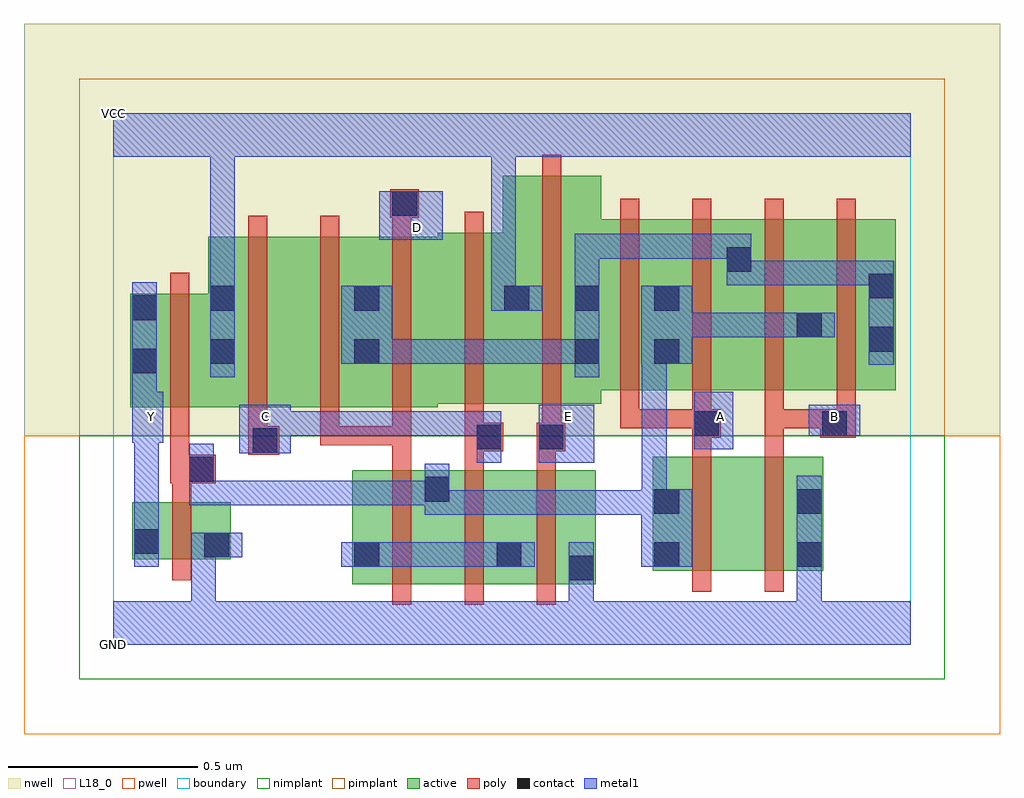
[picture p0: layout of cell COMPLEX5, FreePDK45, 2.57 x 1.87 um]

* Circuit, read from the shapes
.subckt COMPLEX5 A B C D E GND VCC Y
M1 GND n1 Y VSUBS nfet w=0.15u l=0.05u
M2 n1 D n2 VSUBS nfet w=0.3u l=0.05u
M3 n2 C n1 VSUBS nfet w=0.3u l=0.05u
M4 GND E n2 VSUBS nfet w=0.3u l=0.05u
M5 n3 A n1 VSUBS nfet w=0.3u l=0.05u
M6 GND B n3 VSUBS nfet w=0.3u l=0.05u
M7 VCC n1 Y n4 pfet w=0.3u l=0.05u
M8 n5 C VCC n4 pfet w=0.45u l=0.05u
M9 n6 D n5 n4 pfet w=0.45u l=0.05u
M10 n7 D n6 n4 pfet w=0.45u l=0.05u
M11 VCC C n7 n4 pfet w=0.45u l=0.05u
M12 n6 E VCC n4 pfet w=0.6u l=0.05u
M13 n1 A n6 n4 pfet w=0.45u l=0.05u m=2
M14 n1 B n6 n4 pfet w=0.45u l=0.05u m=2
.ends

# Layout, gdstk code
import gdstk
lib = gdstk.Library(unit=1e-6, precision=1e-09)
def R(c, l, rs):  # rectangles x0, y0, x1, y1
    for r in rs: c.add(gdstk.rectangle(r[:2], r[2:], *l))
def A(c, l, x, y, w, h, nx, ny, dx, dy):  # array of equal rectangles
    R(c, l, [(x+i*dx, y+j*dy, x+i*dx+w, y+j*dy+h) for i in range(nx) for j in range(ny)])
active = (1, 0)
pwell = (2, 0)
nwell = (3, 0)
nimplant = (4, 0)
pimplant = (5, 0)
poly = (9, 0)
contact = (10, 0)
metal1 = (11, 0)
L18_0 = (18, 0)
boundary = (235, 0)

complex5 = lib.new_cell('COMPLEX5')
R(complex5, active, [(0.63,0.16,0.89,0.46), (0.815,0.16,1.08,0.46), (1.005,0.16,1.27,0.46), (1.195,0.16,1.27,0.46), (0.63,0.195,0.705,0.46), (0.815,0.195,0.89,0.447), (1.005,0.195,1.08,0.392), (1.42,0.195,1.645,0.495), (1.42,0.195,1.525,0.495), (1.645,0.195,1.87,0.495), (1.795,0.195,1.87,0.495), (0.05,0.225,0.31,0.375), (0.235,0.225,0.31,0.375), (0.05,0.235,0.125,0.375), (0.045,0.625,0.12,0.925), (0.045,0.625,0.325,0.925), (0.25,0.625,0.475,1.075), (0.475,0.625,0.705,1.075), (0.63,0.625,0.705,1.075), (0.63,0.625,0.855,1.075), (0.855,0.635,1.1,1.085), (1.025,0.635,1.285,1.235), (1.21,0.67,1.495,1.12), (1.42,0.67,1.685,1.12), (1.42,0.67,1.495,1.055), (1.61,0.67,1.87,1.12), (1.795,0.67,2.06,1.12), (1.795,0.67,1.87,1.055), (1.985,0.67,2.06,1.12), (1.21,0.702,1.285,1.2), (1.61,0.702,1.685,1.055), (1.025,0.722,1.1,1.055), (0.25,0.735,0.325,1.075)])
R(complex5, pwell, [(-0.235,-0.235,2.335,0.55)])
R(complex5, nwell, [(-0.235,0.55,2.335,1.635)])
R(complex5, nimplant, [(-0.09,-0.09,2.19,0.55)])
R(complex5, pimplant, [(-0.09,0.55,2.19,1.49)])
A(complex5, poly, 0.735, 0.105, 0.05, 0.41, 3, 1, 0.19, 0)
A(complex5, poly, 0.355, 0.525, 0.05, 0.095, 3, 1, 0.19, 0)
A(complex5, poly, 0.355, 0.57, 0.05, 0.56, 3, 1, 0.19, 0)
A(complex5, poly, 1.335, 0.57, 0.05, 0.095, 4, 1, 0.19, 0)
A(complex5, poly, 1.335, 0.615, 0.05, 0.56, 4, 1, 0.19, 0)
R(complex5, poly, [(1.525,0.14,1.575,0.55), (1.715,0.14,1.765,0.55), (0.155,0.17,0.205,0.43), (0.155,0.38,0.205,0.475), (0.15,0.425,0.27,0.5), (0.15,0.45,0.2,0.62), (0.735,0.465,0.785,0.575), (0.925,0.465,0.975,0.56), (1.115,0.465,1.165,0.56), (0.355,0.5,0.437,0.575), (1.525,0.5,1.575,0.595), (1.715,0.5,1.765,0.62), (0.925,0.51,1.027,0.585), (1.115,0.51,1.19,0.585), (0.545,0.525,0.595,0.575), (0.545,0.525,0.785,0.575), (0.735,0.525,0.785,0.575), (0.735,0.525,0.785,0.575), (0.735,0.525,0.785,0.575), (0.925,0.535,0.975,0.63), (1.13,0.535,1.18,0.63), (1.525,0.545,1.6,0.62), (1.862,0.545,1.955,0.62), (0.15,0.57,0.2,0.98), (1.335,0.57,1.385,0.62), (1.335,0.57,1.385,0.62), (1.335,0.57,1.385,0.62), (1.335,0.57,1.575,0.62), (1.715,0.57,1.765,0.62), (1.715,0.57,1.912,0.62), (1.862,0.57,1.912,0.62), (1.862,0.57,1.912,0.62), (0.925,0.58,0.975,1.14), (1.13,0.58,1.18,1.29), (0.735,1.08,0.785,1.175), (0.73,1.125,0.805,1.2)])
R(complex5, contact, [(1.2,0.17,1.265,0.235), (0.635,0.205,0.7,0.27), (1.01,0.205,1.075,0.27), (1.425,0.205,1.49,0.27), (1.8,0.205,1.865,0.27), (0.24,0.23,0.305,0.295), (0.055,0.24,0.12,0.305), (1.425,0.345,1.49,0.41), (1.8,0.345,1.865,0.41), (0.82,0.377,0.885,0.442), (0.2,0.43,0.265,0.495), (0.367,0.505,0.432,0.57), (0.957,0.515,1.022,0.58), (1.12,0.515,1.185,0.58), (1.53,0.55,1.595,0.615), (1.867,0.55,1.932,0.615), (0.05,0.715,0.115,0.78), (0.255,0.74,0.32,0.805), (0.635,0.74,0.7,0.805), (1.215,0.74,1.28,0.805), (1.425,0.74,1.49,0.805), (1.99,0.772,2.055,0.837), (1.8,0.81,1.865,0.875), (0.05,0.855,0.115,0.92), (0.255,0.88,0.32,0.945), (0.635,0.88,0.7,0.945), (1.03,0.88,1.095,0.945), (1.215,0.88,1.28,0.945), (1.425,0.88,1.49,0.945), (1.99,0.912,2.055,0.977), (1.615,0.982,1.68,1.047), (0.735,1.13,0.8,1.195)])
R(complex5, metal1, [(0,0,2.1,0.115), (0.205,0.05,0.27,0.115), (0.205,0.05,0.27,0.115), (0.205,0.05,0.27,0.295), (1.2,0.05,1.265,0.2), (1.8,0.05,1.865,0.235), (1.2,0.135,1.265,0.27), (1.8,0.17,1.865,0.445), (0.055,0.205,0.12,0.34), (0.6,0.205,0.735,0.27), (0.67,0.205,0.742,0.27), (0.677,0.205,0.742,0.27), (0.677,0.205,0.902,0.27), (0.837,0.205,1.04,0.27), (0.837,0.205,0.902,0.27), (0.837,0.205,0.902,0.27), (0.837,0.205,0.902,0.27), (0.975,0.205,1.11,0.27), (1.39,0.205,1.525,0.41), (0.205,0.23,0.34,0.295), (0.055,0.275,0.12,0.597), (0.82,0.342,0.885,0.407), (0.82,0.342,0.885,0.407), (0.82,0.342,0.885,0.477), (0.82,0.342,1.127,0.407), (1.062,0.342,1.127,0.407), (1.062,0.342,1.127,0.407), (1.062,0.342,1.127,0.407), (1.062,0.342,1.317,0.407), (1.252,0.342,1.455,0.407), (1.252,0.342,1.317,0.407), (1.252,0.342,1.317,0.407), (1.252,0.342,1.317,0.407), (1.392,0.345,1.457,0.41), (1.392,0.345,1.457,0.41), (1.392,0.345,1.457,0.805), (0.2,0.367,0.265,0.432), (0.2,0.367,0.467,0.432), (0.2,0.367,0.265,0.46), (0.402,0.367,0.605,0.432), (0.402,0.367,0.467,0.432), (0.402,0.367,0.467,0.432), (0.402,0.367,0.467,0.432), (0.54,0.367,0.605,0.432), (0.54,0.367,0.742,0.432), (0.677,0.367,0.742,0.432), (0.677,0.367,0.742,0.432), (0.677,0.367,0.742,0.432), (0.677,0.367,0.885,0.432), (0.2,0.395,0.265,0.46), (0.2,0.395,0.265,0.46), (0.2,0.395,0.265,0.53), (0.957,0.48,1.022,0.615), (1.12,0.48,1.267,0.632), (0.332,0.505,0.467,0.632), (1.53,0.515,1.632,0.667), (0.05,0.532,0.132,0.667), (0.402,0.55,0.605,0.615), (0.402,0.55,0.467,0.615), (0.402,0.55,0.467,0.615), (0.54,0.55,0.605,0.615), (0.54,0.55,0.742,0.615), (0.677,0.55,0.88,0.615), (0.677,0.55,0.742,0.615), (0.677,0.55,0.742,0.615), (0.677,0.55,0.742,0.615), (0.815,0.55,0.88,0.615), (0.815,0.55,1.022,0.615), (1.832,0.55,1.967,0.632), (0.05,0.602,0.115,0.745), (0.05,0.68,0.115,0.955), (0.255,0.705,0.32,0.98), (1.215,0.705,1.28,0.98), (1.99,0.737,2.055,1.012), (0.6,0.74,0.735,0.945), (0.67,0.74,0.742,0.805), (0.677,0.74,0.88,0.805), (0.677,0.74,0.742,0.805), (0.815,0.74,0.88,0.805), (0.815,0.74,0.88,0.805), (0.815,0.74,0.88,0.805), (0.815,0.74,1.12,0.805), (1.055,0.74,1.12,0.805), (1.055,0.74,1.12,0.805), (1.055,0.74,1.12,0.805), (1.055,0.74,1.28,0.805), (1.39,0.74,1.525,0.945), (1.46,0.81,1.525,0.875), (1.46,0.81,1.525,0.875), (1.46,0.81,1.692,0.875), (1.627,0.81,1.83,0.875), (1.627,0.81,1.692,0.875), (1.627,0.81,1.692,0.875), (1.627,0.81,1.692,0.875), (1.765,0.81,1.9,0.875), (0.995,0.88,1.13,0.945), (0.995,0.88,1.06,1.35), (0.255,0.915,0.32,1.35), (1.215,0.915,1.28,1.082), (1.615,0.947,1.68,1.012), (1.615,0.947,1.68,1.012), (1.615,0.947,1.917,1.012), (1.615,0.947,1.68,1.082), (1.852,0.947,2.055,1.012), (1.852,0.947,1.917,1.012), (1.852,0.947,1.917,1.012), (1.852,0.947,1.917,1.012), (1.215,1.017,1.28,1.082), (1.215,1.017,1.28,1.082), (1.215,1.017,1.28,1.082), (1.215,1.017,1.542,1.082), (1.477,1.017,1.68,1.082), (1.477,1.017,1.542,1.082), (1.477,1.017,1.542,1.082), (1.477,1.017,1.542,1.082), (0.7,1.067,0.867,1.195), (0,1.285,2.1,1.4), (0.255,1.285,0.32,1.35), (0.255,1.285,0.32,1.35), (0.255,1.285,0.32,1.35), (0.255,1.285,0.32,1.35), (0.995,1.285,1.06,1.35), (0.995,1.285,1.06,1.35)])
R(complex5, L18_0, [(0,0,2.1,0.115), (0.205,0.05,0.27,0.115), (0.205,0.05,0.27,0.115), (0.205,0.05,0.27,0.295), (1.2,0.05,1.265,0.2), (1.8,0.05,1.865,0.235), (1.2,0.135,1.265,0.27), (1.8,0.17,1.865,0.445), (0.055,0.205,0.12,0.34), (0.205,0.23,0.34,0.295), (0.055,0.275,0.12,0.597), (0.957,0.48,1.022,0.615), (1.12,0.48,1.267,0.632), (0.332,0.505,0.467,0.632), (1.53,0.515,1.632,0.667), (0.05,0.532,0.132,0.667), (0.402,0.55,0.467,0.615), (0.402,0.55,0.467,0.615), (0.402,0.55,0.605,0.615), (0.54,0.55,0.605,0.615), (0.54,0.55,0.742,0.615), (0.677,0.55,0.742,0.615), (0.677,0.55,0.742,0.615), (0.677,0.55,0.742,0.615), (0.677,0.55,0.88,0.615), (0.815,0.55,0.88,0.615), (0.815,0.55,1.022,0.615), (1.832,0.55,1.967,0.632), (0.067,0.567,0.132,0.632), (0.367,0.567,0.432,0.632), (1.167,0.567,1.232,0.632), (1.567,0.567,1.632,0.632), (1.867,0.567,1.932,0.632), (0.05,0.602,0.115,0.745), (0.05,0.68,0.115,0.955), (0.255,0.705,0.32,0.98), (0.995,0.88,1.13,0.945), (0.995,0.88,1.06,1.35), (0.255,0.915,0.32,1.35), (0.7,1.067,0.867,1.195), (0.767,1.067,0.832,1.132), (0,1.285,2.1,1.4), (0.255,1.285,0.32,1.35), (0.255,1.285,0.32,1.35), (0.255,1.285,0.32,1.35), (0.255,1.285,0.32,1.35), (0.995,1.285,1.06,1.35), (0.995,1.285,1.06,1.35)])
R(complex5, boundary, [(0,0,2.1,1.4)])
complex5.add(gdstk.Label('A', (1.6,0.6), layer=11, texttype=0))
complex5.add(gdstk.Label('B', (1.9,0.6), layer=11, texttype=0))
complex5.add(gdstk.Label('C', (0.4,0.6), layer=11, texttype=0))
complex5.add(gdstk.Label('D', (0.8,1.1), layer=11, texttype=0))
complex5.add(gdstk.Label('E', (1.2,0.6), layer=11, texttype=0))
complex5.add(gdstk.Label('Y', (0.1,0.6), layer=11, texttype=0))
complex5.add(gdstk.Label('VCC', (0,1.4), layer=11, texttype=0))
complex5.add(gdstk.Label('GND', (0,0), layer=11, texttype=0))

lib.write_gds('COMPLEX5.gds')
